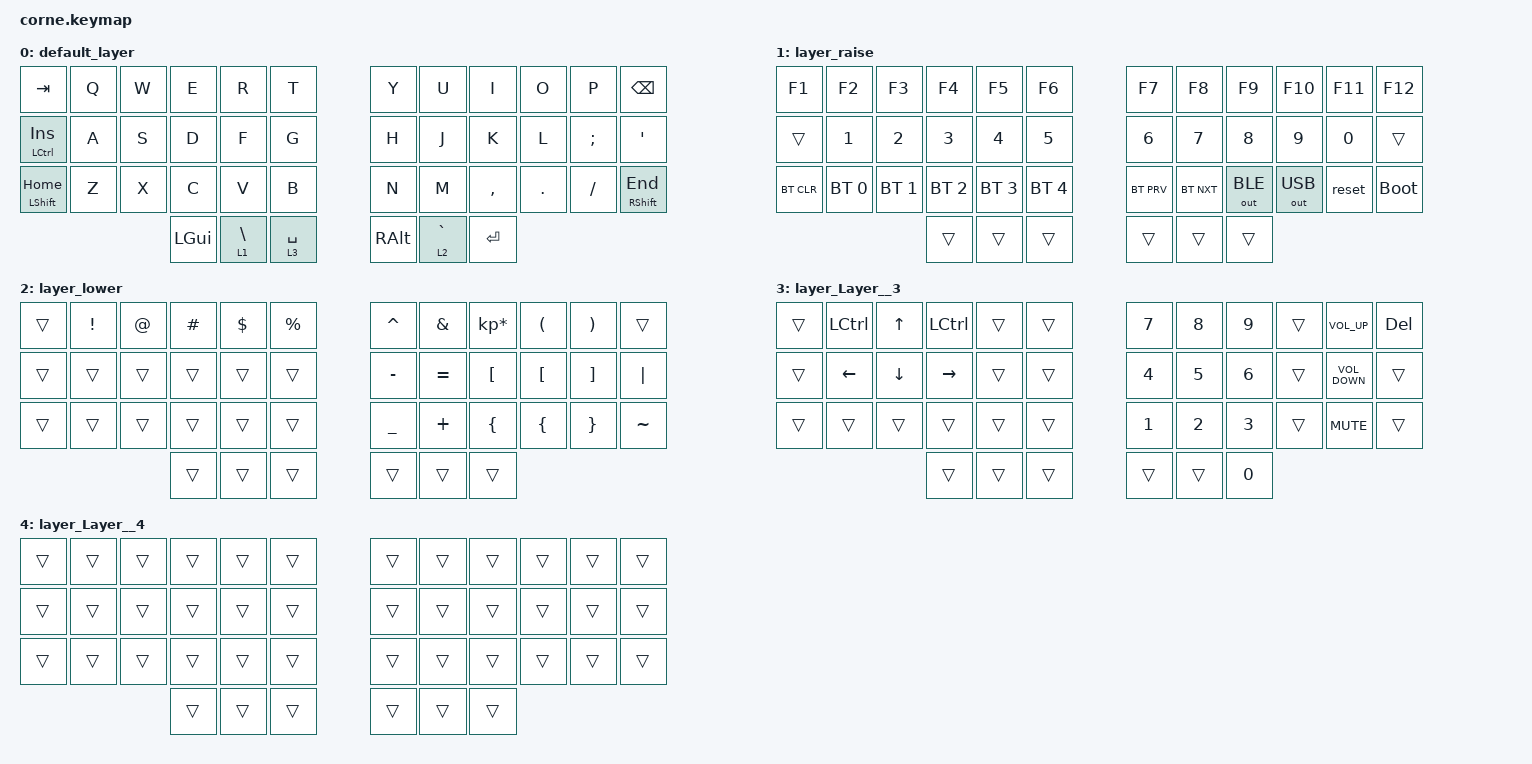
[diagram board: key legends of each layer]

/*
 * Copyright (c) 2020 The ZMK Contributors
 *
 * SPDX-License-Identifier: MIT
 */


/* THIS FILE WAS GENERATED!
 *
 * This file was generated automatically. You may or may not want to
 * edit it directly.
 */

#include <behaviors.dtsi>
#include <dt-bindings/zmk/keys.h>

#include <dt-bindings/zmk/bt.h>
#include <dt-bindings/zmk/outputs.h>

/ {
    keymap {
        compatible = "zmk,keymap";


        default_layer {
            bindings = <
             &kp TAB   &kp Q   &kp W     &kp E            &kp R        &kp T               &kp Y        &kp U      &kp I    &kp O     &kp P        &kp BACKSPACE
    &mt LCTRL INSERT   &kp A   &kp S     &kp D            &kp F        &kp G               &kp H        &kp J      &kp K    &kp L  &kp SEMI       &kp APOSTROPHE
 &mt LEFT_SHIFT HOME   &kp Z   &kp X     &kp C            &kp V        &kp B               &kp N        &kp M  &kp COMMA  &kp DOT  &kp FSLH  &mt RIGHT_SHIFT END
                                      &kp LGUI  &lt 1 BACKSLASH  &lt 3 SPACE            &kp RALT  &lt 2 GRAVE  &kp ENTER
            >;
        };

        layer_raise {
            bindings = <
     &kp F1        &kp F2        &kp F3        &kp F4        &kp F5        &kp F6                  &kp F7        &kp F8        &kp F9       &kp F10       &kp F11      &kp F12
     &trans  &kp NUMBER_1  &kp NUMBER_2  &kp NUMBER_3  &kp NUMBER_4  &kp NUMBER_5            &kp NUMBER_6  &kp NUMBER_7  &kp NUMBER_8  &kp NUMBER_9  &kp NUMBER_0       &trans
 &bt BT_CLR  &bt BT_SEL 0  &bt BT_SEL 1  &bt BT_SEL 2  &bt BT_SEL 3  &bt BT_SEL 4              &bt BT_PRV    &bt BT_NXT  &out OUT_BLE  &out OUT_USB        &reset  &bootloader
                                               &trans        &trans        &trans                  &trans        &trans        &trans
            >;
        };

        layer_lower {
            bindings = <
 &trans  &kp EXCL  &kp AT  &kp HASH  &kp DLLR  &kp PRCNT            &kp CARET   &kp AMPS  &kp KP_MULTIPLY          &kp LPAR           &kp RPAR     &trans
 &trans    &trans  &trans    &trans    &trans     &trans            &kp MINUS  &kp EQUAL         &kp LBKT  &kp LEFT_BRACKET  &kp RIGHT_BRACKET   &kp PIPE
 &trans    &trans  &trans    &trans    &trans     &trans            &kp UNDER   &kp PLUS         &kp LBRC    &kp LEFT_BRACE    &kp RIGHT_BRACE  &kp TILDE
                             &trans    &trans     &trans               &trans     &trans           &trans
            >;
        };

        layer_Layer__3 {
            bindings = <
 &trans  &kp LEFT_CONTROL    &kp UP_ARROW  &kp LEFT_CONTROL  &trans  &trans            &kp NUMBER_7  &kp NUMBER_8  &kp NUMBER_9  &trans    &kp K_VOLUME_UP  &kp DELETE
 &trans    &kp LEFT_ARROW  &kp DOWN_ARROW   &kp RIGHT_ARROW  &trans  &trans            &kp NUMBER_4  &kp NUMBER_5  &kp NUMBER_6  &trans  &kp C_VOLUME_DOWN      &trans
 &trans            &trans          &trans            &trans  &trans  &trans            &kp NUMBER_1  &kp NUMBER_2  &kp NUMBER_3  &trans         &kp K_MUTE      &trans
                                                     &trans  &trans  &trans                  &trans        &trans  &kp NUMBER_0
            >;
        };

        layer_Layer__4 {
            bindings = <
 &trans  &trans  &trans  &trans  &trans  &trans            &trans  &trans  &trans  &trans  &trans  &trans
 &trans  &trans  &trans  &trans  &trans  &trans            &trans  &trans  &trans  &trans  &trans  &trans
 &trans  &trans  &trans  &trans  &trans  &trans            &trans  &trans  &trans  &trans  &trans  &trans
                         &trans  &trans  &trans            &trans  &trans  &trans
            >;
        };

    };
};
